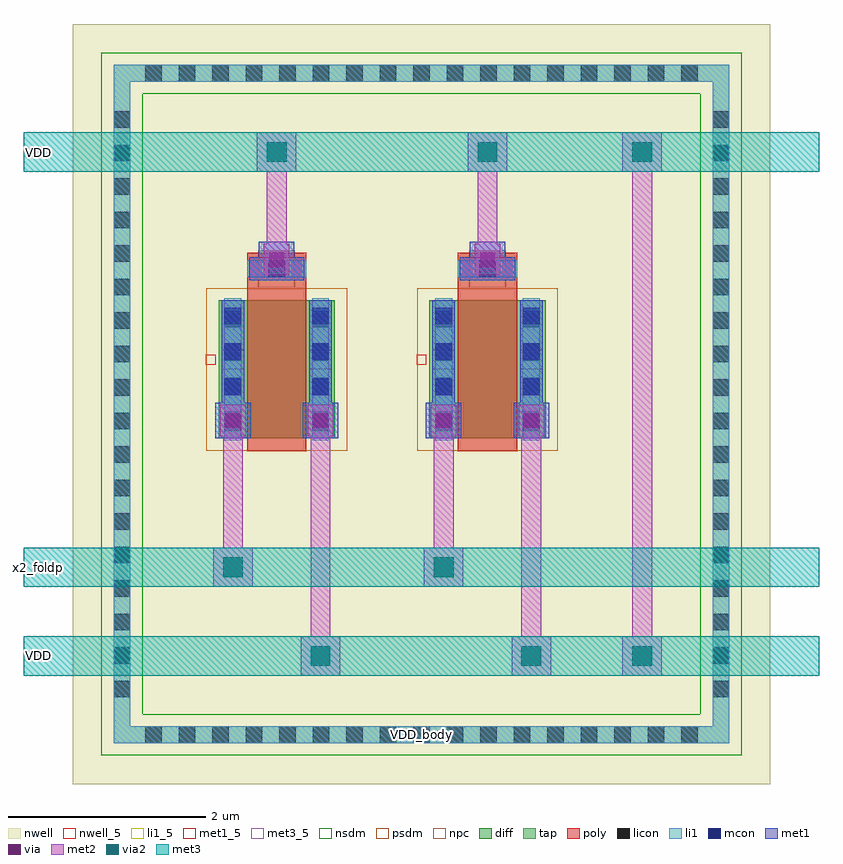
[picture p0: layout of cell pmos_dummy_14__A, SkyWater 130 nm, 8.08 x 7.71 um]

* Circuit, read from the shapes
.subckt pmos_dummy_14__A VDD VDD_body x2_foldp
XM1 VDD VDD x2_foldp VDD_body sky130_fd_pr__pfet_01v8 w=1.4 l=0.6 m=2
.ends

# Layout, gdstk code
import gdstk
lib = gdstk.Library(unit=1e-6, precision=1e-09)
def R(c, l, rs):  # rectangles x0, y0, x1, y1
    for r in rs: c.add(gdstk.rectangle(r[:2], r[2:], *l))
def A(c, l, x, y, w, h, nx, ny, dx, dy):  # array of equal rectangles
    R(c, l, [(x+i*dx, y+j*dy, x+i*dx+w, y+j*dy+h) for i in range(nx) for j in range(ny)])
nwell_5 = (64, 5)
nwell = (64, 20)
diff = (65, 20)
tap = (65, 44)
poly = (66, 20)
licon = (66, 44)
li1_5 = (67, 5)
li1 = (67, 20)
mcon = (67, 44)
met1_5 = (68, 5)
met1 = (68, 20)
via = (68, 44)
met2 = (69, 20)
via2 = (69, 44)
met3_5 = (70, 5)
met3 = (70, 20)
nsdm = (93, 44)
psdm = (94, 20)
npc = (95, 20)

sky130_fd_pr__pfet_01v8_ = lib.new_cell('sky130_fd_pr__pfet_01v8_7A4LUF')
R(sky130_fd_pr__pfet_01v8_, nwell, [(-0.77,-1.19,0.77,1.02)])
R(sky130_fd_pr__pfet_01v8_, diff, [(-0.59,-0.88,0.59,0.52)])
R(sky130_fd_pr__pfet_01v8_, poly, [(-0.3,-1.01,0.3,1.005)])
A(sky130_fd_pr__pfet_01v8_, licon, -0.53, -0.775, 0.17, 0.17, 1, 4, 0, 0.34)
A(sky130_fd_pr__pfet_01v8_, licon, 0.36, -0.775, 0.17, 0.17, 1, 4, 0, 0.34)
R(sky130_fd_pr__pfet_01v8_, licon, [(-0.085,0.755,0.085,0.925)])
R(sky130_fd_pr__pfet_01v8_, li1, [(-0.53,-0.9,-0.36,0.54), (0.36,-0.9,0.53,0.54), (-0.3,0.755,0.3,0.925)])
A(sky130_fd_pr__pfet_01v8_, mcon, -0.53, -0.805, 0.17, 0.17, 1, 4, 0, 0.36)
A(sky130_fd_pr__pfet_01v8_, mcon, 0.36, -0.805, 0.17, 0.17, 1, 4, 0, 0.36)
R(sky130_fd_pr__pfet_01v8_, mcon, [(-0.085,0.755,0.085,0.925)])
R(sky130_fd_pr__pfet_01v8_, met1, [(-0.56,-0.88,-0.33,0.52), (0.33,-0.88,0.56,0.52), (-0.28,0.725,0.28,0.955)])
R(sky130_fd_pr__pfet_01v8_, psdm, [(-0.715,-1.005,0.715,0.645)])
R(sky130_fd_pr__pfet_01v8_, npc, [(-0.185,0.655,0.185,1.025)])
sky130_fd_pr__pfet_01v8_.add(gdstk.Label('D', (-0.445,-0.18), layer=67, texttype=5))
sky130_fd_pr__pfet_01v8_.add(gdstk.Label('S', (0.445,-0.18), layer=67, texttype=5))
sky130_fd_pr__pfet_01v8_.add(gdstk.Label('G', (0,0.84), layer=67, texttype=5))

pfet_01v8_w1p4_l0p6_m2__ = lib.new_cell('pfet_01v8_W1p4_L0p6_m2__nf1_gtop_sdfull_ng')
R(pfet_01v8_w1p4_l0p6_m2__, nwell_5, [(0.05,1.055,0.15,1.155)])
R(pfet_01v8_w1p4_l0p6_m2__, nwell, [(0.05,1.055,0.15,1.155)])
R(pfet_01v8_w1p4_l0p6_m2__, met1_5, [(0.21,1.01,0.44,1.21), (1.1,1.01,1.33,1.21), (0.49,1.915,1.05,2.145)])
R(pfet_01v8_w1p4_l0p6_m2__, met1, [(0.21,1.01,0.44,1.21), (1.1,1.01,1.33,1.21), (0.49,1.915,1.05,2.145)])
pfet_01v8_w1p4_l0p6_m2__.add(gdstk.Reference(sky130_fd_pr__pfet_01v8_, (0.77,1.19)))
pfet_01v8_w1p4_l0p6_m2__.add(gdstk.Label('D', (0.325,1.11), layer=68, texttype=5))
pfet_01v8_w1p4_l0p6_m2__.add(gdstk.Label('S', (1.215,1.11), layer=68, texttype=5))
pfet_01v8_w1p4_l0p6_m2__.add(gdstk.Label('G', (0.77,2.03), layer=68, texttype=5))
pfet_01v8_w1p4_l0p6_m2__.add(gdstk.Label('B', (0.1,1.105), layer=64, texttype=5))

pmos_dummy_14__a = lib.new_cell('pmos_dummy_14__A')
R(pmos_dummy_14__a, nwell, [(-1.3,-3.2,5.78,4.515)])
R(pmos_dummy_14__a, tap, [(-0.885,-2.785,5.365,-2.615), (-0.885,-2.615,-0.715,3.93), (5.195,-2.615,5.365,3.93), (-0.885,3.93,5.365,4.1)])
A(pmos_dummy_14__a, licon, -0.565, -2.785, 0.17, 0.17, 17, 2, 0.34, 6.715)
A(pmos_dummy_14__a, licon, -0.885, -2.32, 0.17, 0.17, 1, 18, 0, 0.34)
A(pmos_dummy_14__a, licon, 5.195, -2.32, 0.17, 0.17, 1, 18, 0, 0.34)
R(pmos_dummy_14__a, li1_5, [(2.19,-2.75,2.29,-2.65)])
R(pmos_dummy_14__a, li1, [(-0.885,-2.785,5.365,-2.615), (-0.885,-2.615,-0.715,3.93), (5.195,-2.615,5.365,3.93), (-0.885,3.93,5.365,4.1)])
R(pmos_dummy_14__a, met1, [(0.145,0.31,0.505,0.67), (1.035,0.31,1.395,0.67), (2.285,0.31,2.645,0.67), (3.175,0.31,3.535,0.67), (0.59,1.945,0.95,2.305), (2.73,1.945,3.09,2.305)])
R(pmos_dummy_14__a, via, [(0.25,0.415,0.4,0.565), (1.14,0.415,1.29,0.565), (2.39,0.415,2.54,0.565), (3.28,0.415,3.43,0.565), (0.695,2.05,0.845,2.2), (2.835,2.05,2.985,2.2)])
R(pmos_dummy_14__a, met2, [(1.015,-2.1,1.415,-1.7), (3.155,-2.1,3.555,-1.7), (4.28,-2.1,4.68,-1.7), (1.115,-1.7,1.315,0.33), (3.255,-1.7,3.455,0.33), (4.38,-1.7,4.58,3.015), (0.125,-1.2,0.525,-0.8), (2.265,-1.2,2.665,-0.8), (0.225,-0.8,0.425,0.33), (2.365,-0.8,2.565,0.33), (0.195,0.33,0.455,0.65), (1.085,0.33,1.345,0.65), (2.335,0.33,2.595,0.65), (3.225,0.33,3.485,0.65), (0.64,1.965,0.9,2.285), (2.78,1.965,3.04,2.285), (0.67,2.285,0.87,3.015), (2.81,2.285,3.01,3.015), (0.57,3.015,0.97,3.415), (2.71,3.015,3.11,3.415), (4.28,3.015,4.68,3.415)])
R(pmos_dummy_14__a, via2, [(1.115,-2,1.315,-1.8), (3.255,-2,3.455,-1.8), (4.38,-2,4.58,-1.8), (0.225,-1.1,0.425,-0.9), (2.365,-1.1,2.565,-0.9), (0.67,3.115,0.87,3.315), (2.81,3.115,3.01,3.315), (4.38,3.115,4.58,3.315)])
R(pmos_dummy_14__a, met3_5, [(-1.7,-1.95,-1.6,-1.85), (-1.7,-1.05,-1.6,-0.95), (-1.7,3.165,-1.6,3.265)])
R(pmos_dummy_14__a, met3, [(-1.8,-2.1,6.28,-1.7), (-1.8,-1.2,6.28,-0.8), (-1.8,3.015,6.28,3.415)])
R(pmos_dummy_14__a, nsdm, [(-1.01,-2.91,5.49,-2.49), (-1.01,-2.49,-0.59,3.805), (5.07,-2.49,5.49,3.805), (-1.01,3.805,5.49,4.225)])
pmos_dummy_14__a.add(gdstk.Reference(pfet_01v8_w1p4_l0p6_m2__, (2.14,0)))
pmos_dummy_14__a.add(gdstk.Reference(pfet_01v8_w1p4_l0p6_m2__, (0,0)))
pmos_dummy_14__a.add(gdstk.Label('VDD', (-1.65,3.215), layer=70, texttype=5))
pmos_dummy_14__a.add(gdstk.Label('x2_foldp', (-1.65,-1), layer=70, texttype=5))
pmos_dummy_14__a.add(gdstk.Label('VDD', (-1.65,-1.9), layer=70, texttype=5))
pmos_dummy_14__a.add(gdstk.Label('VDD_body', (2.24,-2.7), layer=67, texttype=5))

lib.write_gds('pmos_dummy_14__A.gds')
